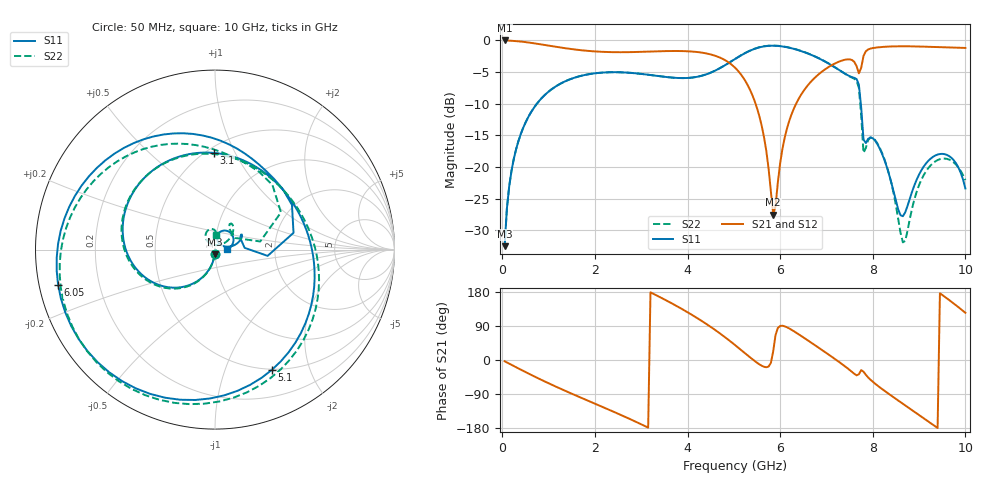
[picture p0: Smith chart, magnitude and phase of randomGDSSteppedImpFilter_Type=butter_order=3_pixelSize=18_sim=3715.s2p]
! freq	dB(S11)	phase(S11)	dB(S12)	phase(S12)
!  dB(S21)	phase(S21)	dB(S22)	phase(S22)
!S-par simulation data
#  GHz  S  DB  R 50
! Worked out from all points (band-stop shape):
!   200 points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, 50 MHz to 10 GHz, reference 50 ohm
!   highest |S21| = -0.01 dB at 50 MHz (marker M1); lowest = -27.5 dB at 5.85 GHz (marker M2)
!   |S21| within 3 dB of the highest: start of sweep to 4.783 GHz; 7.785 GHz to end of sweep (the widest 2 of 3)
!   lowest |S11| = -32.5 dB at 50 MHz (marker M3), VSWR 1.05, Z = 49.8 - j2.37 ohm
!   |S11| at or under -10 dB: start of sweep to 746.3 MHz; 7.742 GHz to end of sweep
!   |S22| runs from -32.5 to -0.8 dB; largest |S21 - S12| = 0
!   S11 on the Smith chart (normalised r, x): 50 MHz: 1.00, -0.05; 3.1 GHz: 0.54, +0.82; 5.1 GHz: 0.49, -1.46; 6.05 GHz: 0.06, -0.11; 10 GHz: 1.15, +0.00
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0.05  -32.48 -93.3  -0.01 -3.3  -0.01 -3.3  -32.48 -93.2
0.2  -20.54 -103.5  -0.06 -12.9  -0.06 -12.9  -20.53 -103.1
0.5  -12.99 -122.7  -0.27 -31.7  -0.27 -31.7  -12.99 -121.8
1.1  -7.53 -158.6  -0.94 -67.1  -0.94 -67.1  -7.53 -156.6
1.75  -5.50 165.6  -1.58 -102.1  -1.58 -102.1  -5.50 169.0
3.1  -5.37 90.9  -1.78 -175.5  -1.78 -175.5  -5.37 97.6
3.4  -5.65 72.3  -1.71 166.2  -1.71 166.2  -5.65 79.9
4.35  -5.49 4.8  -1.98 99.6  -1.98 99.6  -5.48 13.8
5.05  -2.82 -59.5  -4.49 37.1  -4.49 37.1  -2.81 -50.7
5.1  -2.60 -64.7  -4.89 32.1  -4.89 32.1  -2.59 -55.9
5.6  -1.01 -119.7  -13.42 -15.0  -13.42 -15.0  -0.99 -110.2
5.85  -0.83 -146.8  -27.49 22.8  -27.49 22.8  -0.81 -136.5
6.05  -0.95 -167.4  -17.09 90.4  -17.09 90.4  -0.93 -156.3
6.7  -2.38 131.9  -6.24 43.4  -6.24 43.4  -2.35 146.4
7.25  -4.56 82.4  -3.41 -3.2  -3.41 -3.2  -4.56 100.4
7.65  -6.09 30.1  -4.06 -40.4  -4.06 -40.4  -6.34 48.4
7.8  -15.64 3.4  -2.45 -30.8  -2.45 -30.8  -17.74 30.0
8  -15.44 26.9  -1.21 -57.4  -1.21 -57.4  -15.38 55.0
8.35  -21.11 11.3  -0.97 -89.8  -0.97 -89.8  -21.05 35.5
8.65  -27.75 53.0  -0.92 -115.5  -0.92 -115.5  -31.88 76.3
9.25  -18.65 65.3  -1.02 -166.4  -1.02 -166.4  -19.72 119.3
10  -23.37 1.1  -1.19 124.5  -1.19 124.5  -22.03 87.1
